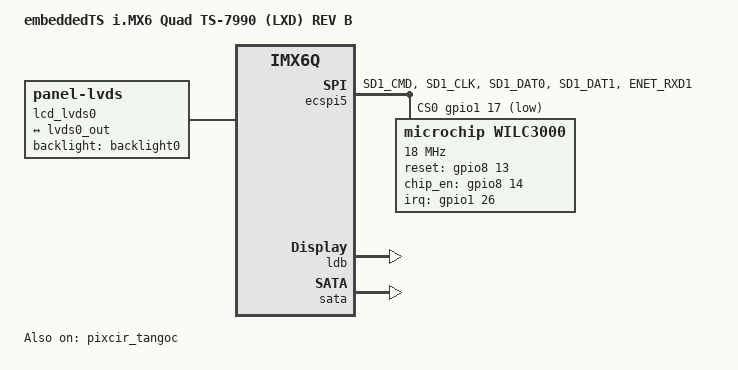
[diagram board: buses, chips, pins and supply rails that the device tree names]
// SPDX-License-Identifier: GPL-2.0 OR X11
/*
 * Copyright 2017-2022 Technologic Systems, Inc. dba embeddedTS
 */

/dts-v1/;
#include "imx6q.dtsi"
#include "imx6qdl-ts7990.dtsi"

/ {
	model = "embeddedTS i.MX6 Quad TS-7990 (LXD) REV B";
	compatible = "fsl,imx6q-ts7990", "fsl,imx6q";

	lcd_lvds0: disp0 {
		compatible = "panel-lvds";
		backlight = <&backlight0>;
		width-mm = <15>;
		height-mm = <9>;
		data-mapping = "vesa-24";

		panel-timing {
			clock-frequency = <51200000>;
			hactive = <1024>;
			vactive = <600>;
			hback-porch = <46>;
			hfront-porch = <210>;
			vback-porch = <23>;
			vfront-porch = <12>;
			hsync-len = <20>;
			vsync-len = <10>;
			de-active = <1>;
			hsync-active = <1>;
			vsync-active = <1>;
			pixelclk-active = <0>;
		};

		port {
			panel_in: endpoint {
				remote-endpoint = <&lvds0_out>;
			};
		};
	};
};

&pixcir_tangoc {
	status = "okay";
};

&ecspi5 {
	num-cs = <1>;
	cs-gpios = <&gpio1 17 GPIO_ACTIVE_LOW>;
	pinctrl-names = "default";
	pinctrl-0 = <&pinctrl_ecspi5>;
	status = "okay";

	wilc3000: wifi@0 {
		compatible = "microchip,wilc3000";
		reg = <0>;
		spi-max-frequency = <18000000>;
		reset-gpios = <&gpio8 13 GPIO_ACTIVE_HIGH>;
		chip_en-gpios = <&gpio8 14 GPIO_ACTIVE_HIGH>;
		interrupt-parent = <&gpio1>;
		interrupts = <26 IRQ_TYPE_EDGE_FALLING>;
	};
};

&iomuxc {
	pinctrl-names = "default";
	imx6-ts7990 {
		pinctrl_ecspi5: ecspi5 {
			fsl,pins = <
				MX6QDL_PAD_SD1_CMD__ECSPI5_MOSI		0x1b0b0
				MX6QDL_PAD_SD1_CLK__ECSPI5_SCLK		0x1b0b0
				MX6QDL_PAD_SD1_DAT0__ECSPI5_MISO	0x1b0b0
				MX6QDL_PAD_SD1_DAT1__GPIO1_IO17		0x1b088 /* SPI_1_CS# */
				MX6QDL_PAD_ENET_RXD1__GPIO1_IO26	0x1b088 /* WIFI_IRQ# */
			>;
		};
	};
};

&ldb {
	status = "okay";

	lvds-channel@0 {
		fsl,data-mapping = "spwg";
		fsl,data-width = <18>;

		status = "okay";

		port@4 {
			reg = <4>;

			lvds0_out: endpoint {
				remote-endpoint = <&panel_in>;
			};
		};
	};
};

&sata {
	status = "okay";
};
